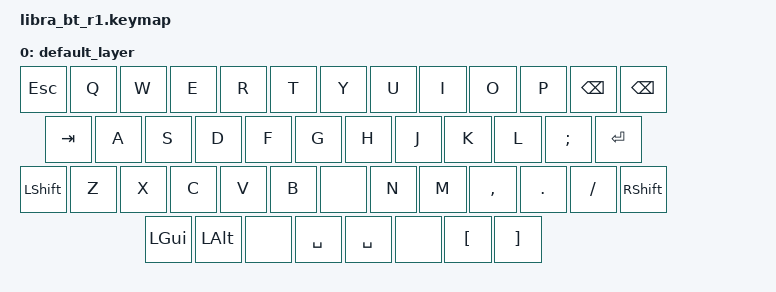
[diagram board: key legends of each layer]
#include <behaviors.dtsi>
#include <dt-bindings/zmk/keys.h>
#include <dt-bindings/zmk/bt.h>
#include <dt-bindings/zmk/outputs.h>

/ {
    keymap {
        compatible = "zmk,keymap";

                // &kp ESC &kp Q &kp W &kp E &kp R &kp T &kp Y &kp U &kp I &kp O &kp P &kp BSCP &kp BSCP
                // &none &none &none &none &none &none &none &none &none &none &none &none &none
        default_layer {
           bindings = <
                &kp ESC &kp Q &kp W &kp E &kp R &kp T &kp Y &kp U &kp I &kp O &kp P &kp BSPC &kp BSPC
                &kp TAB &kp A &kp S &kp D &kp F &kp G &kp H &kp J &kp K &kp L &kp SEMI &kp ENTER
                &kp LSHFT &kp Z &kp X &kp C &kp V &kp B &none &kp N &kp M &kp COMMA &kp DOT &kp FSLH &kp RSHFT
                &kp LGUI &kp LALT      &none       &kp SPACE       &kp SPACE &none             &kp LBKT &kp RBKT
            >;
        };
    };
};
